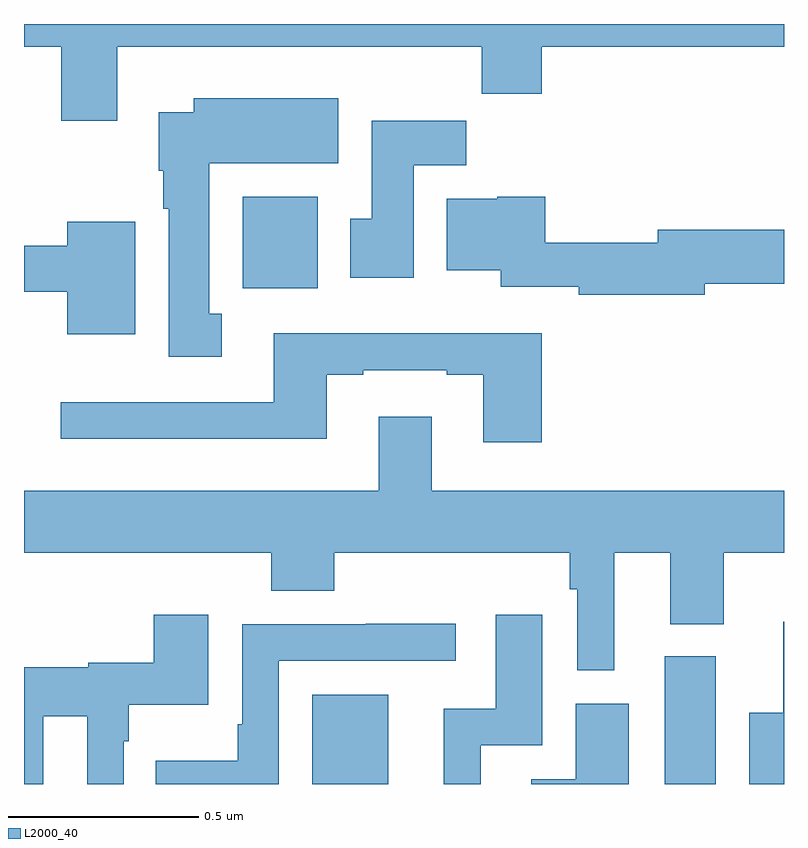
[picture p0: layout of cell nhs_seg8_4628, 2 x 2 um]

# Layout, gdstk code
import gdstk
lib = gdstk.Library(unit=1e-6, precision=1e-09)
def R(c, l, rs):  # rectangles x0, y0, x1, y1
    for r in rs: c.add(gdstk.rectangle(r[:2], r[2:], *l))
def P(c, l, *ps):  # polygons
    for p in ps: c.add(gdstk.Polygon(p, *l))
L2000_40 = (2000, 40)

nhs_seg8_4628 = lib.new_cell('nhs_seg8_4628')
R(nhs_seg8_4628, L2000_40, [(173.759,1107.9,173.959,1108.135), (174.686,1107.9,174.82,1108.236), (173.576,1109.204,173.773,1109.446)])
P(nhs_seg8_4628, L2000_40, [(173.245,1109.84),(174.205,1109.84),(174.205,1109.716),(174.362,1109.716),(174.362,1109.84),(175,1109.84),(175,1109.9),(173,1109.9),(173,1109.84),(173.098,1109.84),(173.098,1109.646),(173.245,1109.646)],
  [(173.521,1109.138),(173.488,1109.138),(173.488,1109.534),(173.827,1109.534),(173.827,1109.704),(173.447,1109.704),(173.447,1109.668),(173.354,1109.668),(173.354,1109.514),(173.366,1109.514),(173.366,1109.414),(173.381,1109.414),(173.381,1109.025),(173.521,1109.025)],
  [(174.025,1109.528),(174.164,1109.528),(174.164,1109.646),(173.915,1109.646),(173.915,1109.388),(173.858,1109.388),(173.858,1109.232),(174.025,1109.232)],
  [(174.792,1109.216),(175,1109.216),(175,1109.358),(174.668,1109.358),(174.668,1109.324),(174.372,1109.324),(174.372,1109.446),(174.246,1109.446),(174.246,1109.44),(174.113,1109.44),(174.113,1109.252),(174.254,1109.252),(174.254,1109.208),(174.46,1109.208),(174.46,1109.188),(174.792,1109.188)],
  [(173.293,1109.38),(173.114,1109.38),(173.114,1109.317),(173,1109.317),(173,1109.196),(173.114,1109.196),(173.114,1109.084),(173.293,1109.084)],
  [(174.362,1109.086),(173.657,1109.086),(173.657,1108.905),(173.097,1108.905),(173.097,1108.808),(173.797,1108.808),(173.797,1108.977),(173.893,1108.977),(173.893,1108.989),(174.113,1108.989),(174.113,1108.977),(174.209,1108.977),(174.209,1108.8),(174.362,1108.8)],
  [(174.553,1108.508),(174.701,1108.508),(174.701,1108.321),(174.841,1108.321),(174.841,1108.508),(175,1108.508),(175,1108.672),(174.073,1108.672),(174.073,1108.867),(173.933,1108.867),(173.933,1108.672),(173,1108.672),(173,1108.508),(173.651,1108.508),(173.651,1108.409),(173.816,1108.409),(173.816,1108.508),(174.436,1108.508),(174.436,1108.412),(174.456,1108.412),(174.456,1108.2),(174.553,1108.2)],
  [(173.05,1108.078),(173.166,1108.078),(173.166,1107.9),(173.262,1107.9),(173.262,1108.013),(173.275,1108.013),(173.275,1108.109),(173.485,1108.109),(173.485,1108.345),(173.342,1108.345),(173.342,1108.219),(173.169,1108.219),(173.169,1108.207),(173,1108.207),(173,1107.9),(173.05,1107.9)],
  [(174.202,1108.002),(174.364,1108.002),(174.364,1108.345),(174.242,1108.345),(174.242,1108.098),(174.104,1108.098),(174.104,1107.9),(174.202,1107.9)],
  [(175,1108.327),(174.998,1108.327),(174.998,1108.087),(174.908,1108.087),(174.908,1107.9),(175,1107.9)],
  [(173.67,1108.224),(174.136,1108.224),(174.136,1108.322),(173.899,1108.322),(173.899,1108.32),(173.574,1108.32),(173.574,1108.057),(173.562,1108.057),(173.562,1107.961),(173.347,1107.961),(173.347,1107.9),(173.67,1107.9)],
  [(174.592,1108.111),(174.452,1108.111),(174.452,1107.913),(174.335,1107.913),(174.335,1107.9),(174.592,1107.9)])

lib.write_gds('nhs_seg8_4628.gds')
